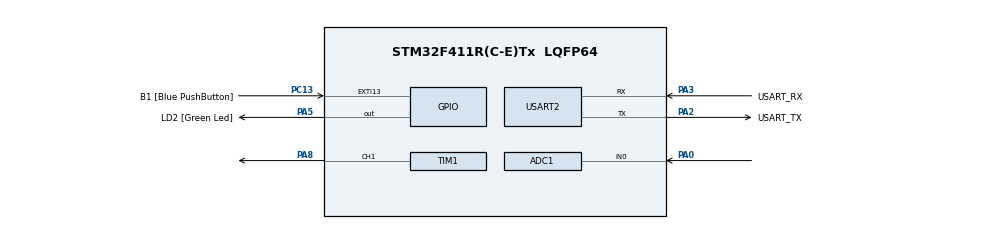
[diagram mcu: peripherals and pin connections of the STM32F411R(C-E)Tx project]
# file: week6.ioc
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Mcu.Family=STM32F4
RCC.CortexFreq_Value=100000000
PA14.GPIO_Label=TCK
TIM1.Pulse-PWM\ Generation1\ CH1=5000
RCC.SYSCLKSource=RCC_SYSCLKSOURCE_PLLCLK
ProjectManager.StackSize=0x400
NVIC.ADC_IRQn=true\:0\:0\:false\:false\:true\:true\:true
TIM1.Prescaler=99
PH0\ -\ OSC_IN.Signal=RCC_OSC_IN
RCC.HCLKFreq_Value=100000000
RCC.APB2TimFreq_Value=100000000
TIM3.Period=1000
RCC.AHBFreq_Value=100000000
ADC1.Channel-0\#ChannelRegularConversion=ADC_CHANNEL_0
NVIC.TIM1_TRG_COM_TIM11_IRQn=true\:0\:0\:false\:false\:true\:true\:true
RCC.HSE_VALUE=8000000
PC13-ANTI_TAMP.Signal=GPXTI13
PC14-OSC32_IN.Mode=LSE-External-Oscillator
TIM1.Channel-PWM\ Generation1\ CH1=TIM_CHANNEL_1
PA14.Mode=Serial_Wire
TIM3.Prescaler=99
PA8.Signal=S_TIM1_CH1
SH.ADCx_IN0.0=ADC1_IN0,IN0
VP_TIM1_VS_ClockSourceINT.Mode=Internal
ADC1.SamplingTime-0\#ChannelRegularConversion=ADC_SAMPLETIME_480CYCLES
RCC.FLatency-AdvancedSettings=FLASH_LATENCY_3
Mcu.Package=LQFP64
USART2.VirtualMode=VM_ASYNC
PA2.GPIO_Label=USART_TX
RCC.APB1TimFreq_Value=100000000
TIM1.Period=10000
VP_TIM3_VS_ClockSourceINT.Mode=Internal
PA3.Signal=USART2_RX
PB3.GPIO_Label=SWO
PC15-OSC32_OUT.Mode=LSE-External-Oscillator
ADC1.Rank-0\#ChannelRegularConversion=1
PC13-ANTI_TAMP.GPIO_Label=B1 [Blue PushButton]
PH1\ -\ OSC_OUT.Mode=HSE-External-Clock-Source
TIM11.Prescaler=99
RCC.APB1CLKDivider=RCC_HCLK_DIV2
PC14-OSC32_IN.Signal=RCC_OSC32_IN
PA0-WKUP.Signal=ADCx_IN0
VP_TIM11_VS_ClockSourceINT.Mode=Enable_Timer
PA13.Signal=SYS_JTMS-SWDIO
PA3.Mode=Asynchronous
PH0\ -\ OSC_IN.Mode=HSE-External-Clock-Source
SH.S_TIM1_CH1.0=TIM1_CH1,PWM Generation1 CH1
ProjectManager.TargetToolchain=STM32CubeIDE
PC15-OSC32_OUT.Signal=RCC_OSC32_OUT
PA5.Signal=GPIO_Output
PH1\ -\ OSC_OUT.Signal=RCC_OSC_OUT
board=NUCLEO-F411RE
RCC.VCOOutputFreq_Value=200000000
NVIC.TIM3_IRQn=true\:0\:0\:false\:false\:true\:true\:true
RCC.APB2Freq_Value=100000000
PA13.Mode=Serial_Wire
Mcu.Name=STM32F411R(C-E)Tx
PA13.GPIO_Label=TMS
PA2.Signal=USART2_TX
ADC1.ExternalTrigConv=ADC_EXTERNALTRIGCONV_T3_TRGO
RCC.48MHZClocksFreq_Value=50000000
PB3.Signal=SYS_JTDO-SWO
RCC.SYSCLKFreq_VALUE=100000000
ADC1.master=1
PA5.GPIO_Label=LD2 [Green Led]
PC13-ANTI_TAMP.GPIO_ModeDefaultEXTI=GPIO_MODE_IT_FALLING
PA14.Signal=SYS_JTCK-SWCLK
ProjectManager.HeapSize=0x200
RCC.HSI_VALUE=16000000
NVIC.PriorityGroup=NVIC_PRIORITYGROUP_0
ADC1.NbrOfConversionFlag=1
RCC.PLLM=8
RCC.PLLN=100
PA2.Mode=Asynchronous
TIM3.TIM_MasterOutputTrigger=TIM_TRGO_UPDATE
RCC.APB1Freq_Value=50000000
PA3.GPIO_Label=USART_RX

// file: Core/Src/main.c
	/* USER CODE BEGIN Header */
	/**
	 ******************************************************************************
	 * @file           : main.c
	 * @brief          : Main program body
	 ******************************************************************************
	 * @attention
	 *
	 * <h2><center>&copy; Copyright (c) 2021 STMicroelectronics.
	 * All rights reserved.</center></h2>
	 *
	 * This software component is licensed by ST under BSD 3-Clause license,
	 * the "License"; You may not use this file except in compliance with the
	 * License. You may obtain a copy of the License at:
	 *                        opensource.org/licenses/BSD-3-Clause
	 *
	 ******************************************************************************
	 */
	/* USER CODE END Header */
	/* Includes ------------------------------------------------------------------*/
	#include "main.h"

	/* Private includes ----------------------------------------------------------*/

	/* Private typedef -----------------------------------------------------------*/

	/* Private define ------------------------------------------------------------*/

	/* Private macro -------------------------------------------------------------*/

	/* Private variables ---------------------------------------------------------*/
	ADC_HandleTypeDef hadc1;

	TIM_HandleTypeDef htim1;
	TIM_HandleTypeDef htim3;
	TIM_HandleTypeDef htim11;

	UART_HandleTypeDef huart2;

	/* USER CODE BEGIN PV */

	uint8_t ADCUpdateFlag = 0;
	uint16_t ADCFeedBack = 0;
	float error = 0;
	uint16_t Vwant=1000;
	uint16_t PWMOut = 3000;
	float Kp =0;
	uint64_t _micro = 0;
	uint64_t TimeOutputLoop = 0;
	/* USER CODE END PV */

	/* Private function prototypes -----------------------------------------------*/
	void SystemClock_Config(void);
	static void MX_GPIO_Init(void);
	static void MX_USART2_UART_Init(void);
	static void MX_ADC1_Init(void);
	static void MX_TIM1_Init(void);
	static void MX_TIM11_Init(void);
	static void MX_TIM3_Init(void);
	/* USER CODE BEGIN PFP */
	uint64_t micros();
	/* USER CODE END PFP */

	/* Private user code ---------------------------------------------------------*/

	/**
	 * @brief  The application entry point.
	 * @retval int
	 */
	int main(void) {

	/* MCU Configuration--------------------------------------------------------*/

	/* Reset of all peripherals, Initializes the Flash interface and the Systick. */
	HAL_Init();

	/* Configure the system clock */
	SystemClock_Config();

	/* Initialize all configured peripherals */
	MX_GPIO_Init();
	MX_USART2_UART_Init();
	MX_ADC1_Init();
	MX_TIM1_Init();
	MX_TIM11_Init();
	MX_TIM3_Init();
	/* USER CODE BEGIN 2 */
	HAL_ADC_Start_IT(&hadc1);
	HAL_TIM_Base_Start(&htim3);

	HAL_TIM_Base_Start(&htim1);
	HAL_TIM_PWM_Start(&htim1, TIM_CHANNEL_1);

	HAL_TIM_Base_Start_IT(&htim11);

	/* USER CODE END 2 */

	/* Infinite loop */
	while (1) {

	/* USER CODE BEGIN 3 */
	//1 Khz Loop
	if (micros() - TimeOutputLoop > 1000) {
	TimeOutputLoop = micros();
	// #001
	error = (Vwant*4096.0/3300.0)-ADCFeedBack;
	PWMOut = (PWMOut +(Kp*error));
	__HAL_TIM_SET_COMPARE(&htim1, TIM_CHANNEL_1, PWMOut);

	}

	if (ADCUpdateFlag) {
	ADCUpdateFlag = 0;
	//#002
	}
	}
	/* USER CODE END 3 */
	}

	/**
	 * @brief System Clock Configuration
	 * @retval None
	 */
	void SystemClock_Config(void) {
	RCC_OscInitTypeDef RCC_OscInitStruct = { 0 };
	RCC_ClkInitTypeDef RCC_ClkInitStruct = { 0 };

	/** Configure the main internal regulator output voltage
	*/
	__HAL_RCC_PWR_CLK_ENABLE();
	__HAL_PWR_VOLTAGESCALING_CONFIG(PWR_REGULATOR_VOLTAGE_SCALE1);
	/** Initializes the RCC Oscillators according to the specified parameters
	* in the RCC_OscInitTypeDef structure.
	*/
	RCC_OscInitStruct.OscillatorType = RCC_OSCILLATORTYPE_HSI;
	RCC_OscInitStruct.HSIState = RCC_HSI_ON;
	RCC_OscInitStruct.HSICalibrationValue = RCC_HSICALIBRATION_DEFAULT;
	RCC_OscInitStruct.PLL.PLLState = RCC_PLL_ON;
	RCC_OscInitStruct.PLL.PLLSource = RCC_PLLSOURCE_HSI;
	RCC_OscInitStruct.PLL.PLLM = 8;
	RCC_OscInitStruct.PLL.PLLN = 100;
	RCC_OscInitStruct.PLL.PLLP = RCC_PLLP_DIV2;
	RCC_OscInitStruct.PLL.PLLQ = 4;
	if (HAL_RCC_OscConfig(&RCC_OscInitStruct) != HAL_OK) {
	Error_Handler();
	}
	/** Initializes the CPU, AHB and APB buses clocks
	*/
	RCC_ClkInitStruct.ClockType = RCC_CLOCKTYPE_HCLK | RCC_CLOCKTYPE_SYSCLK
	| RCC_CLOCKTYPE_PCLK1 | RCC_CLOCKTYPE_PCLK2;
	RCC_ClkInitStruct.SYSCLKSource = RCC_SYSCLKSOURCE_PLLCLK;
	RCC_ClkInitStruct.AHBCLKDivider = RCC_SYSCLK_DIV1;
	RCC_ClkInitStruct.APB1CLKDivider = RCC_HCLK_DIV2;
	RCC_ClkInitStruct.APB2CLKDivider = RCC_HCLK_DIV1;

	if (HAL_RCC_ClockConfig(&RCC_ClkInitStruct, FLASH_LATENCY_3) != HAL_OK) {
	Error_Handler();
	}
	}

	/**
	 * @brief ADC1 Initialization Function
	 * @param None
	 * @retval None
	 */
	static void MX_ADC1_Init(void) {

	ADC_ChannelConfTypeDef sConfig = { 0 };

	/** Configure the global features of the ADC (Clock, Resolution, Data Alignment and number of conversion)
	*/
	hadc1.Instance = ADC1;
	hadc1.Init.ClockPrescaler = ADC_CLOCK_SYNC_PCLK_DIV4;
	hadc1.Init.Resolution = ADC_RESOLUTION_12B;
	hadc1.Init.ScanConvMode = DISABLE;
	hadc1.Init.ContinuousConvMode = DISABLE;
	hadc1.Init.DiscontinuousConvMode = DISABLE;
	hadc1.Init.ExternalTrigConvEdge = ADC_EXTERNALTRIGCONVEDGE_RISING;
	hadc1.Init.ExternalTrigConv = ADC_EXTERNALTRIGCONV_T3_TRGO;
	hadc1.Init.DataAlign = ADC_DATAALIGN_RIGHT;
	hadc1.Init.NbrOfConversion = 1;
	hadc1.Init.DMAContinuousRequests = DISABLE;
	hadc1.Init.EOCSelection = ADC_EOC_SINGLE_CONV;
	if (HAL_ADC_Init(&hadc1) != HAL_OK) {
	Error_Handler();
	}
	/** Configure for the selected ADC regular channel its corresponding rank in the sequencer and its sample time.
	*/
	sConfig.Channel = ADC_CHANNEL_0;
	sConfig.Rank = 1;
	sConfig.SamplingTime = ADC_SAMPLETIME_3CYCLES;
	if (HAL_ADC_ConfigChannel(&hadc1, &sConfig) != HAL_OK) {
	Error_Handler();
	}

	}

	/**
	 * @brief TIM1 Initialization Function
	 * @param None
	 * @retval None
	 */
	static void MX_TIM1_Init(void) {

	TIM_ClockConfigTypeDef sClockSourceConfig = { 0 };
	TIM_MasterConfigTypeDef sMasterConfig = { 0 };
	TIM_OC_InitTypeDef sConfigOC = { 0 };
	TIM_BreakDeadTimeConfigTypeDef sBreakDeadTimeConfig = { 0 };

	htim1.Instance = TIM1;
	htim1.Init.Prescaler = 1;
	htim1.Init.CounterMode = TIM_COUNTERMODE_UP;
	htim1.Init.Period = 10000;
	htim1.Init.ClockDivision = TIM_CLOCKDIVISION_DIV1;
	htim1.Init.RepetitionCounter = 0;
	htim1.Init.AutoReloadPreload = TIM_AUTORELOAD_PRELOAD_ENABLE;
	if (HAL_TIM_Base_Init(&htim1) != HAL_OK) {
	Error_Handler();
	}
	sClockSourceConfig.ClockSource = TIM_CLOCKSOURCE_INTERNAL;
	if (HAL_TIM_ConfigClockSource(&htim1, &sClockSourceConfig) != HAL_OK) {
	Error_Handler();
	}
	if (HAL_TIM_PWM_Init(&htim1) != HAL_OK) {
	Error_Handler();
	}
	sMasterConfig.MasterOutputTrigger = TIM_TRGO_RESET;
	sMasterConfig.MasterSlaveMode = TIM_MASTERSLAVEMODE_DISABLE;
	if (HAL_TIMEx_MasterConfigSynchronization(&htim1, &sMasterConfig)
	!= HAL_OK) {
	Error_Handler();
	}
	sConfigOC.OCMode = TIM_OCMODE_PWM1;
	sConfigOC.Pulse = 5000;
	sConfigOC.OCPolarity = TIM_OCPOLARITY_HIGH;
	sConfigOC.OCNPolarity = TIM_OCNPOLARITY_HIGH;
	sConfigOC.OCFastMode = TIM_OCFAST_DISABLE;
	sConfigOC.OCIdleState = TIM_OCIDLESTATE_RESET;
	sConfigOC.OCNIdleState = TIM_OCNIDLESTATE_RESET;
	if (HAL_TIM_PWM_ConfigChannel(&htim1, &sConfigOC, TIM_CHANNEL_1)
	!= HAL_OK) {
	Error_Handler();
	}
	__HAL_TIM_DISABLE_OCxPRELOAD(&htim1, TIM_CHANNEL_1);
	sBreakDeadTimeConfig.OffStateRunMode = TIM_OSSR_DISABLE;
	sBreakDeadTimeConfig.OffStateIDLEMode = TIM_OSSI_DISABLE;
	sBreakDeadTimeConfig.LockLevel = TIM_LOCKLEVEL_OFF;
	sBreakDeadTimeConfig.DeadTime = 0;
	sBreakDeadTimeConfig.BreakState = TIM_BREAK_DISABLE;
	sBreakDeadTimeConfig.BreakPolarity = TIM_BREAKPOLARITY_HIGH;
	sBreakDeadTimeConfig.AutomaticOutput = TIM_AUTOMATICOUTPUT_DISABLE;
	if (HAL_TIMEx_ConfigBreakDeadTime(&htim1, &sBreakDeadTimeConfig)
	!= HAL_OK) {
	Error_Handler();
	}
	HAL_TIM_MspPostInit(&htim1);

	}

	/**
	 * @brief TIM3 Initialization Function
	 * @param None
	 * @retval None
	 */
	static void MX_TIM3_Init(void) {

	TIM_ClockConfigTypeDef sClockSourceConfig = { 0 };
	TIM_MasterConfigTypeDef sMasterConfig = { 0 };

	htim3.Instance = TIM3;
	htim3.Init.Prescaler = 100;
	htim3.Init.CounterMode = TIM_COUNTERMODE_UP;
	htim3.Init.Period = 2000;
	htim3.Init.ClockDivision = TIM_CLOCKDIVISION_DIV1;
	htim3.Init.AutoReloadPreload = TIM_AUTORELOAD_PRELOAD_DISABLE;
	if (HAL_TIM_Base_Init(&htim3) != HAL_OK) {
	Error_Handler();
	}
	sClockSourceConfig.ClockSource = TIM_CLOCKSOURCE_INTERNAL;
	if (HAL_TIM_ConfigClockSource(&htim3, &sClockSourceConfig) != HAL_OK) {
	Error_Handler();
	}
	sMasterConfig.MasterOutputTrigger = TIM_TRGO_UPDATE;
	sMasterConfig.MasterSlaveMode = TIM_MASTERSLAVEMODE_DISABLE;
	if (HAL_TIMEx_MasterConfigSynchronization(&htim3, &sMasterConfig)
	!= HAL_OK) {
	Error_Handler();
	}

	}

	/**
	 * @brief TIM11 Initialization Function
	 * @param None
	 * @retval None
	 */
	static void MX_TIM11_Init(void) {

	htim11.Instance = TIM11;
	htim11.Init.Prescaler = 100;
	htim11.Init.CounterMode = TIM_COUNTERMODE_UP;
	htim11.Init.Period = 65535;
	htim11.Init.ClockDivision = TIM_CLOCKDIVISION_DIV1;
	htim11.Init.AutoReloadPreload = TIM_AUTORELOAD_PRELOAD_DISABLE;
	if (HAL_TIM_Base_Init(&htim11) != HAL_OK) {
	Error_Handler();
	}

	}

	/**
	 * @brief USART2 Initialization Function
	 * @param None
	 * @retval None
	 */
	static void MX_USART2_UART_Init(void) {

	huart2.Instance = USART2;
	huart2.Init.BaudRate = 115200;
	huart2.Init.WordLength = UART_WORDLENGTH_8B;
	huart2.Init.StopBits = UART_STOPBITS_1;
	huart2.Init.Parity = UART_PARITY_NONE;
	huart2.Init.Mode = UART_MODE_TX_RX;
	huart2.Init.HwFlowCtl = UART_HWCONTROL_NONE;
	huart2.Init.OverSampling = UART_OVERSAMPLING_16;
	if (HAL_UART_Init(&huart2) != HAL_OK) {
	Error_Handler();
	}

	}

	/**
	 * @brief GPIO Initialization Function
	 * @param None
	 * @retval None
	 */
	static void MX_GPIO_Init(void) {
	GPIO_InitTypeDef GPIO_InitStruct = { 0 };

	/* GPIO Ports Clock Enable */
	__HAL_RCC_GPIOC_CLK_ENABLE();
	__HAL_RCC_GPIOH_CLK_ENABLE();
	__HAL_RCC_GPIOA_CLK_ENABLE();
	__HAL_RCC_GPIOB_CLK_ENABLE();

	/*Configure GPIO pin Output Level */
	HAL_GPIO_WritePin(LD2_GPIO_Port, LD2_Pin, GPIO_PIN_RESET);

	/*Configure GPIO pin : B1_Pin */
	GPIO_InitStruct.Pin = B1_Pin;
	GPIO_InitStruct.Mode = GPIO_MODE_IT_FALLING;
	GPIO_InitStruct.Pull = GPIO_NOPULL;
	HAL_GPIO_Init(B1_GPIO_Port, &GPIO_InitStruct);

	/*Configure GPIO pin : LD2_Pin */
	GPIO_InitStruct.Pin = LD2_Pin;
	GPIO_InitStruct.Mode = GPIO_MODE_OUTPUT_PP;
	GPIO_InitStruct.Pull = GPIO_NOPULL;
	GPIO_InitStruct.Speed = GPIO_SPEED_FREQ_LOW;
	HAL_GPIO_Init(LD2_GPIO_Port, &GPIO_InitStruct);

	}

	/* USER CODE BEGIN 4 */

	void HAL_ADC_ConvCpltCallback(ADC_HandleTypeDef *hadc) {
	ADCFeedBack = HAL_ADC_GetValue(&hadc1);
	ADCUpdateFlag = 1;
	}
	void HAL_TIM_PeriodElapsedCallback(TIM_HandleTypeDef *htim) {
	if (htim == &htim11) {
	_micro += 65535;
	}
	}

	__inline__ uint64_t micros() {
	return _micro + htim11.Instance->CNT;
	}
	/* USER CODE END 4 */

	/**
	 * @brief  This function is executed in case of error occurrence.
	 * @retval None
	 */
	void Error_Handler(void) {
	__disable_irq();
	while (1) {
	}
	}

	#ifdef  USE_FULL_ASSERT
	/**
	  * @brief  Reports the name of the source file and the source line number
	  *         where the assert_param error has occurred.
	  * @param  file: pointer to the source file name
	  * @param  line: assert_param error line source number
	  * @retval None
	  */
	void assert_failed(uint8_t *file, uint32_t line)
	{
	}
	#endif /* USE_FULL_ASSERT */

	/************************ (C) COPYRIGHT STMicroelectronics *****END OF FILE****/
